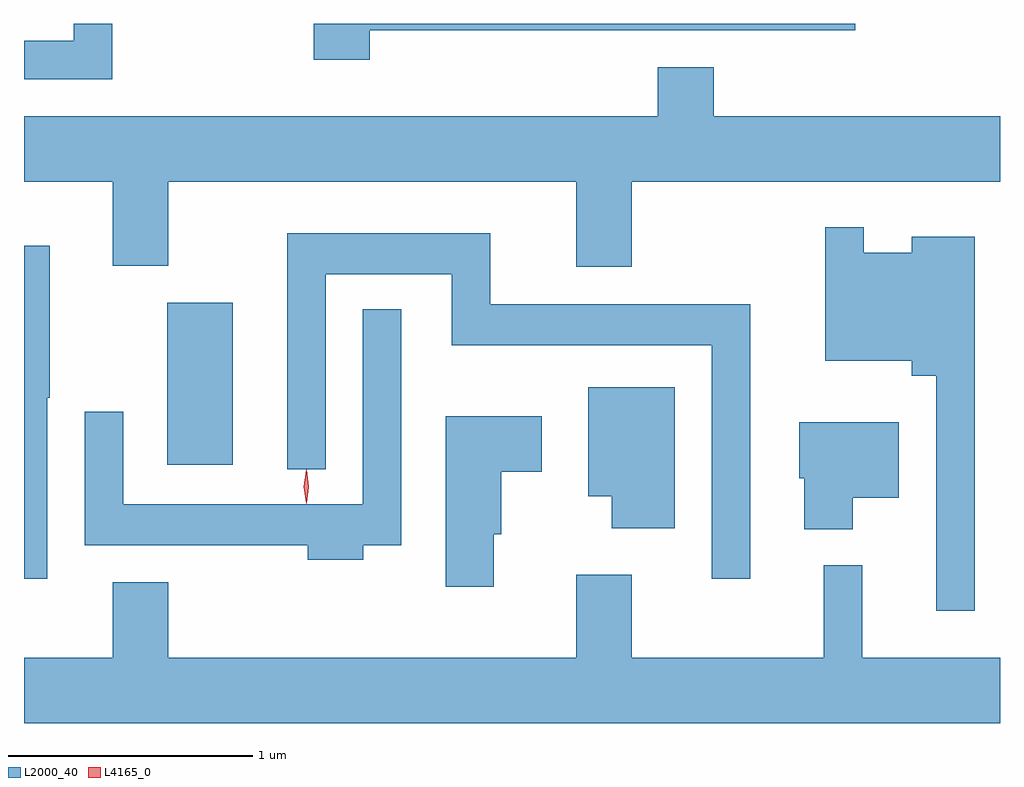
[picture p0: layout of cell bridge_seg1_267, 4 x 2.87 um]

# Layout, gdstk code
import gdstk
lib = gdstk.Library(unit=1e-6, precision=1e-09)
def R(c, l, rs):  # rectangles x0, y0, x1, y1
    for r in rs: c.add(gdstk.rectangle(r[:2], r[2:], *l))
def P(c, l, *ps):  # polygons
    for p in ps: c.add(gdstk.Polygon(p, *l))
L2000_40 = (2000, 40)
L4165_0 = (4165, 0)

bridge_seg1_267 = lib.new_cell('bridge_seg1_267')
R(bridge_seg1_267, L2000_40, [(902.356,896.196,902.624,896.859)])
P(bridge_seg1_267, L2000_40, [(902.129,898.003),(901.971,898.003),(901.971,897.934),(901.768,897.934),(901.768,897.776),(902.129,897.776)],
  [(903.184,897.976),(905.174,897.976),(905.174,898.003),(902.956,898.003),(902.956,897.856),(903.184,897.856)],
  [(904.259,897.356),(905.768,897.356),(905.768,897.624),(904.594,897.624),(904.594,897.824),(904.366,897.824),(904.366,897.624),(901.768,897.624),(901.768,897.356),(902.131,897.356),(902.131,897.011),(902.359,897.011),(902.359,897.356),(904.031,897.356),(904.031,897.006),(904.259,897.006)],
  [(905.664,897.129),(905.406,897.129),(905.406,897.064),(905.209,897.064),(905.209,897.168),(905.051,897.168),(905.051,896.621),(905.406,896.621),(905.406,896.561),(905.506,896.561),(905.506,895.598),(905.664,895.598)],
  [(904.744,896.854),(903.679,896.854),(903.679,897.144),(902.846,897.144),(902.846,896.178),(903.004,896.178),(903.004,896.976),(903.521,896.976),(903.521,896.686),(904.586,896.686),(904.586,895.728),(904.744,895.728)],
  [(901.864,896.47),(901.874,896.47),(901.874,897.094),(901.768,897.094),(901.768,895.728),(901.864,895.728)],
  [(903.159,895.866),(903.314,895.866),(903.314,896.833),(903.156,896.833),(903.156,896.034),(902.174,896.034),(902.174,896.413),(902.016,896.413),(902.016,895.866),(902.931,895.866),(902.931,895.806),(903.159,895.806)],
  [(904.434,896.514),(904.081,896.514),(904.081,896.066),(904.176,896.066),(904.176,895.936),(904.434,895.936)],
  [(903.694,895.911),(903.724,895.911),(903.724,896.166),(903.889,896.166),(903.889,896.394),(903.496,896.394),(903.496,895.696),(903.694,895.696)],
  [(905.164,896.061),(905.354,896.061),(905.354,896.369),(904.946,896.369),(904.946,896.141),(904.966,896.141),(904.966,895.931),(905.164,895.931)],
  [(905.768,895.404),(905.204,895.404),(905.204,895.783),(905.046,895.783),(905.046,895.404),(904.259,895.404),(904.259,895.744),(904.031,895.744),(904.031,895.404),(902.359,895.404),(902.359,895.714),(902.131,895.714),(902.131,895.404),(901.768,895.404),(901.768,895.136),(905.768,895.136)])
P(bridge_seg1_267, L4165_0, [(902.925,896.039),(902.924,896.04),(902.915,896.106),(902.924,896.172),(902.925,896.173),(902.925,896.172),(902.935,896.106),(902.925,896.04)],
  [(902.924,896.037),(902.915,896.106),(902.924,896.176),(902.925,896.176),(902.926,896.176),(902.935,896.106),(902.926,896.037),(902.925,896.037)])

lib.write_gds('bridge_seg1_267.gds')
